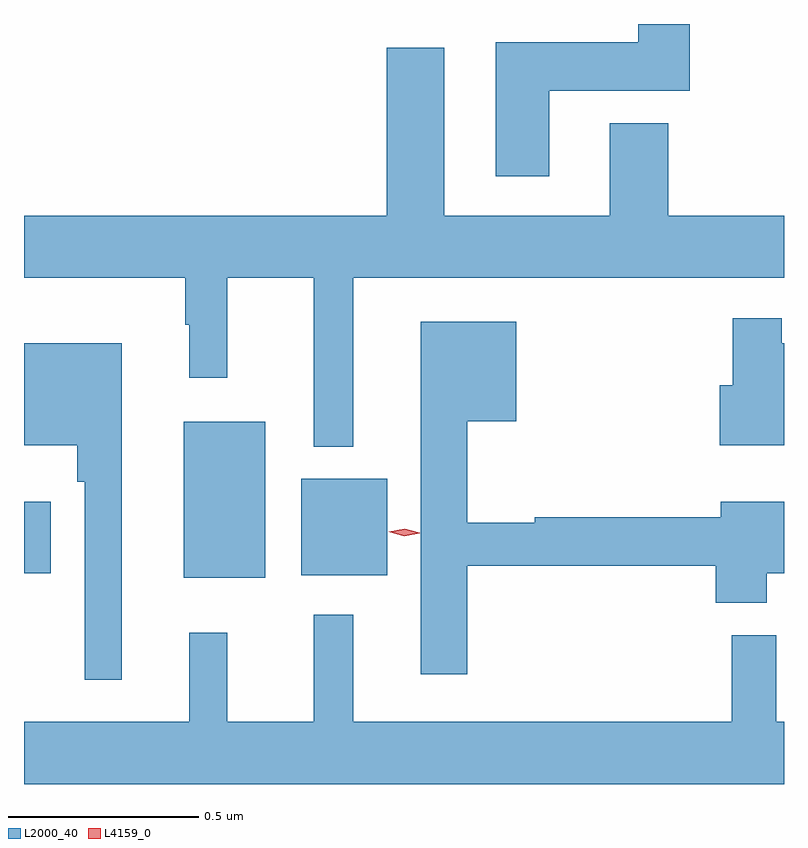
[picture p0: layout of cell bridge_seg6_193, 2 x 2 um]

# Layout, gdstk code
import gdstk
lib = gdstk.Library(unit=1e-6, precision=1e-09)
def R(c, l, rs):  # rectangles x0, y0, x1, y1
    for r in rs: c.add(gdstk.rectangle(r[:2], r[2:], *l))
def P(c, l, *ps):  # polygons
    for p in ps: c.add(gdstk.Polygon(p, *l))
L2000_40 = (2000, 40)
L4159_0 = (4159, 0)

bridge_seg6_193 = lib.new_cell('bridge_seg6_193')
R(bridge_seg6_193, L2000_40, [(309.797,929.231,310.012,929.641), (310.106,929.237,310.333,929.491), (309.377,929.243,309.448,929.431)])
P(bridge_seg6_193, L2000_40, [(310.759,930.512),(311.129,930.512),(311.129,930.688),(310.994,930.688),(310.994,930.64),(310.619,930.64),(310.619,930.288),(310.759,930.288)],
  [(310.243,930.02),(311.377,930.02),(311.377,930.184),(311.072,930.184),(311.072,930.427),(310.919,930.427),(310.919,930.184),(310.483,930.184),(310.483,930.625),(310.331,930.625),(310.331,930.184),(309.377,930.184),(309.377,930.02),(309.801,930.02),(309.801,929.897),(309.812,929.897),(309.812,929.757),(309.912,929.757),(309.912,930.02),(310.139,930.02),(310.139,929.576),(310.243,929.576)],
  [(311.377,929.848),(311.371,929.848),(311.371,929.914),(311.242,929.914),(311.242,929.737),(311.208,929.737),(311.208,929.579),(311.377,929.579)],
  [(310.543,929.262),(311.198,929.262),(311.198,929.165),(311.332,929.165),(311.332,929.243),(311.377,929.243),(311.377,929.431),(311.21,929.431),(311.21,929.39),(310.721,929.39),(310.721,929.375),(310.543,929.375),(310.543,929.642),(310.672,929.642),(310.672,929.905),(310.421,929.905),(310.421,928.977),(310.543,928.977)],
  [(309.634,929.848),(309.377,929.848),(309.377,929.579),(309.517,929.579),(309.517,929.483),(309.537,929.483),(309.537,928.962),(309.634,928.962)],
  [(310.243,929.134),(310.139,929.134),(310.139,928.852),(309.912,928.852),(309.912,929.086),(309.812,929.086),(309.812,928.852),(309.377,928.852),(309.377,928.688),(311.377,928.688),(311.377,928.852),(311.357,928.852),(311.357,929.08),(311.239,929.08),(311.239,928.852),(310.243,928.852)])
P(bridge_seg6_193, L4159_0, [(310.378,929.34),(310.337,929.352),(310.337,929.352),(310.337,929.352),(310.379,929.36),(310.419,929.349),(310.419,929.348),(310.419,929.348)])

lib.write_gds('bridge_seg6_193.gds')
